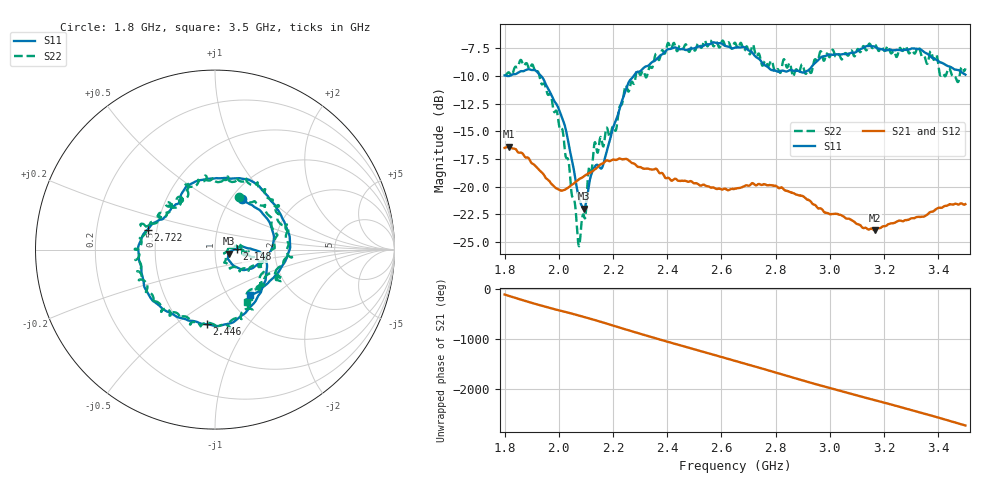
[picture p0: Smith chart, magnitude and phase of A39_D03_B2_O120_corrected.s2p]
! Created with skrf 1.9.0 (http://scikit-rf.org).
# Hz S RI R 50.0
!freq ReS11 ImS11 ReS21 ImS21 ReS12 ImS12 ReS22 ImS22
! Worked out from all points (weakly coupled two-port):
!   1601 points, 1.8 GHz to 3.5 GHz, reference 50 ohm
!   highest |S21| = -16.39 dB at 1.816 GHz (marker M1); lowest = -23.9 dB at 3.165 GHz (marker M2)
!   lowest |S11| = -22.0 dB at 2.092 GHz (marker M3), VSWR 1.17, Z = 58.1 - j2.75 ohm
!   |S11| at or under -10 dB: 1.935 GHz to 2.275 GHz (340.2 MHz wide, 16.2 % of centre)
!   |S22| runs from -25.4 to -6.8 dB; largest |S21 - S12| = 0.0026
!   S11 on the Smith chart (normalised r, x): 1.8 GHz: 1.13, +0.70; 2.148 GHz: 1.28, +0.00; 2.446 GHz: 0.65, -0.66; 2.722 GHz: 0.44, +0.12; 3.5 GHz: 1.26, -0.72
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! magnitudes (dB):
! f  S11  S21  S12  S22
! 1.8 GHz  -9.9  -16.5  -16.5  -9.9
! 1.816 GHz  -10.0  -16.4  -16.4  -9.7
! 1.903 GHz  -9.4  -17.9  -17.9  -9.0
! 1.968 GHz  -11.5  -19.6  -19.6  -11.6
! 2.015 GHz  -13.9  -20.3  -20.3  -15.0
! 2.072 GHz  -20.8  -19.4  -19.4  -25.2
! 2.084 GHz  -21.7  -19.2  -19.2  -23.3
! 2.092 GHz  -22.0  -19.1  -19.1  -22.6
! 2.113 GHz  -19.5  -18.7  -18.8  -18.2
! 2.148 GHz  -18.2  -18.1  -18.1  -16.2
! 2.209 GHz  -14.1  -17.6  -17.5  -14.9
! 2.259 GHz  -10.5  -17.6  -17.6  -11.3
! 2.367 GHz  -8.3  -18.6  -18.6  -8.5
! 2.446 GHz  -7.6  -19.5  -19.5  -7.2
! 2.65 GHz  -7.4  -20.2  -20.2  -7.0
! 2.722 GHz  -8.1  -19.8  -19.7  -7.7
! 2.803 GHz  -9.5  -19.9  -20.0  -9.5
! 2.934 GHz  -9.1  -21.5  -21.5  -9.6
! 3.165 GHz  -7.3  -23.9  -23.9  -7.2
! 3.217 GHz  -7.6  -23.4  -23.3  -7.4
! 3.468 GHz  -9.4  -21.6  -21.5  -10.4
! 3.5 GHz  -9.9  -21.6  -21.6  -9.3
